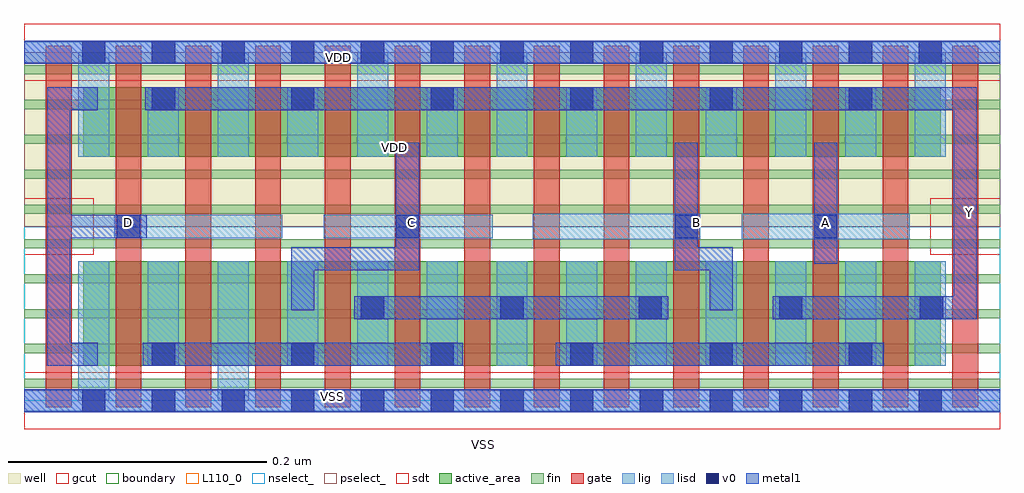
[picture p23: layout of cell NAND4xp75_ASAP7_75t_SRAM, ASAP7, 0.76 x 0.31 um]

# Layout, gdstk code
import gdstk
lib = gdstk.Library(unit=1e-6, precision=2.5e-10)
def R(c, l, rs):  # rectangles x0, y0, x1, y1
    for r in rs: c.add(gdstk.rectangle(r[:2], r[2:], *l))
def A(c, l, x, y, w, h, nx, ny, dx, dy):  # array of equal rectangles
    R(c, l, [(x+i*dx, y+j*dy, x+i*dx+w, y+j*dy+h) for i in range(nx) for j in range(ny)])
def P(c, l, *ps):  # polygons
    for p in ps: c.add(gdstk.Polygon(p, *l))
well = (1, 0)
fin = (2, 0)
gate = (7, 0)
gcut = (10, 0)
active_area = (11, 0)
nselect_ = (12, 0)
pselect_ = (13, 0)
lig = (16, 0)
lisd = (17, 0)
v0 = (18, 0)
metal1 = (19, 0)
sdt = (88, 0)
boundary = (100, 0)
L110_0 = (110, 0)

nand4xp75_asap7_75t_sram = lib.new_cell('NAND4xp75_ASAP7_75t_SRAM')
R(nand4xp75_asap7_75t_sram, well, [(0,0.135,0.324,0.27), (0.216,0.135,0.756,0.27)])
A(nand4xp75_asap7_75t_sram, fin, 0, 0.01, 0.324, 0.007, 1, 10, 0, 0.027)
A(nand4xp75_asap7_75t_sram, fin, 0.216, 0.01, 0.54, 0.007, 1, 10, 0, 0.027)
A(nand4xp75_asap7_75t_sram, gate, 0.017, -0.005, 0.02, 0.28, 14, 1, 0.054, 0)
R(nand4xp75_asap7_75t_sram, gcut, [(0,-0.022,0.324,0.022), (0.216,-0.022,0.756,0.022), (0,0.113,0.054,0.157), (0.702,0.113,0.756,0.157), (0,0.248,0.324,0.292), (0.216,0.248,0.756,0.292)])
A(nand4xp75_asap7_75t_sram, active_area, 0.046, 0.027, 0.232, 0.081, 3, 1, 0.216, 0)
A(nand4xp75_asap7_75t_sram, active_area, 0.046, 0.189, 0.232, 0.054, 3, 1, 0.216, 0)
R(nand4xp75_asap7_75t_sram, nselect_, [(0,0,0.324,0.135), (0.216,0,0.756,0.135)])
R(nand4xp75_asap7_75t_sram, pselect_, [(0,0.135,0.324,0.27), (0.216,0.135,0.756,0.27)])
R(nand4xp75_asap7_75t_sram, lig, [(0,-0.008,0.756,0.008), (0.394,0.125,0.524,0.145), (0.556,0.125,0.686,0.145), (0.07,0.126,0.2,0.144), (0.232,0.126,0.363,0.144), (0,0.262,0.756,0.278)])
A(nand4xp75_asap7_75t_sram, lisd, 0.258, 0.027, 0.024, 0.081, 5, 1, 0.054, 0)
A(nand4xp75_asap7_75t_sram, lisd, 0.474, 0.027, 0.024, 0.081, 5, 1, 0.054, 0)
A(nand4xp75_asap7_75t_sram, lisd, 0.042, 0.189, 0.024, 0.081, 7, 1, 0.108, 0)
R(nand4xp75_asap7_75t_sram, lisd, [(0.042,0,0.066,0.108), (0.15,0,0.174,0.108), (0.096,0.027,0.12,0.108), (0.204,0.027,0.228,0.108), (0.258,0.027,0.282,0.108), (0.474,0.027,0.498,0.108), (0.096,0.189,0.12,0.243), (0.096,0.189,0.12,0.243), (0.204,0.189,0.228,0.243), (0.204,0.189,0.228,0.243), (0.312,0.189,0.336,0.243), (0.312,0.189,0.336,0.243), (0.42,0.189,0.444,0.243), (0.42,0.189,0.444,0.243), (0.474,0.189,0.498,0.243), (0.474,0.189,0.498,0.243), (0.528,0.189,0.552,0.243), (0.528,0.189,0.552,0.243), (0.636,0.189,0.66,0.243), (0.636,0.189,0.66,0.243)])
A(nand4xp75_asap7_75t_sram, v0, 0.045, -0.009, 0.018, 0.018, 13, 2, 0.054, 0.27)
A(nand4xp75_asap7_75t_sram, v0, 0.099, 0.027, 0.018, 0.018, 6, 2, 0.108, 0.198)
A(nand4xp75_asap7_75t_sram, v0, 0.476, 0.063, 0.018, 0.018, 3, 1, 0.109, 0)
A(nand4xp75_asap7_75t_sram, v0, 0.072, 0.126, 0.018, 0.018, 3, 1, 0.216, 0)
R(nand4xp75_asap7_75t_sram, v0, [(0.261,0.063,0.279,0.081), (0.369,0.063,0.387,0.081), (0.612,0.126,0.63,0.144)])
R(nand4xp75_asap7_75t_sram, metal1, [(0,-0.009,0.756,0.009), (0.092,0.027,0.34,0.045), (0.412,0.027,0.666,0.045), (0.256,0.063,0.499,0.081), (0.612,0.106,0.63,0.2), (0,0.261,0.756,0.279)])
P(nand4xp75_asap7_75t_sram, metal1, [(0.095,0.144),(0.036,0.144),(0.036,0.225),(0.057,0.225),(0.057,0.243),(0.018,0.243),(0.018,0.027),(0.057,0.027),(0.057,0.045),(0.036,0.045),(0.036,0.126),(0.095,0.126)],
  [(0.306,0.2),(0.288,0.2),(0.288,0.119),(0.207,0.119),(0.207,0.07),(0.225,0.07),(0.225,0.101),(0.306,0.101)],
  [(0.549,0.119),(0.522,0.119),(0.522,0.2),(0.504,0.2),(0.504,0.101),(0.531,0.101),(0.531,0.07),(0.549,0.07)],
  [(0.738,0.243),(0.094,0.243),(0.094,0.225),(0.72,0.225),(0.72,0.081),(0.58,0.081),(0.58,0.063),(0.738,0.063)])
A(nand4xp75_asap7_75t_sram, sdt, 0.042, 0.027, 0.024, 0.081, 5, 1, 0.054, 0)
A(nand4xp75_asap7_75t_sram, sdt, 0.258, 0.027, 0.024, 0.081, 5, 1, 0.054, 0)
A(nand4xp75_asap7_75t_sram, sdt, 0.474, 0.027, 0.024, 0.081, 5, 1, 0.054, 0)
A(nand4xp75_asap7_75t_sram, sdt, 0.042, 0.189, 0.024, 0.054, 9, 1, 0.054, 0)
A(nand4xp75_asap7_75t_sram, sdt, 0.474, 0.189, 0.024, 0.054, 5, 1, 0.054, 0)
R(nand4xp75_asap7_75t_sram, sdt, [(0.474,0.027,0.498,0.108), (0.474,0.189,0.498,0.243)])
R(nand4xp75_asap7_75t_sram, boundary, [(0,0,0.324,0.27), (0.216,0,0.756,0.27)])
R(nand4xp75_asap7_75t_sram, L110_0, [(0,0,0.324,0.27), (0.216,0,0.756,0.27)])
nand4xp75_asap7_75t_sram.add(gdstk.Label('VDD', (0.2435,0.266), layer=19, texttype=251))
nand4xp75_asap7_75t_sram.add(gdstk.Label('VSS', (0.239,0.003), layer=19, texttype=251))
nand4xp75_asap7_75t_sram.add(gdstk.Label('C', (0.3,0.138), layer=19, texttype=251))
nand4xp75_asap7_75t_sram.add(gdstk.Label('B', (0.521,0.138), layer=19, texttype=251))
nand4xp75_asap7_75t_sram.add(gdstk.Label('A', (0.621,0.138), layer=19, texttype=251))
nand4xp75_asap7_75t_sram.add(gdstk.Label('D', (0.081,0.138), layer=19, texttype=251))
nand4xp75_asap7_75t_sram.add(gdstk.Label('Y', (0.732,0.146), layer=19, texttype=251))
nand4xp75_asap7_75t_sram.add(gdstk.Label('VDD', (0.287,0.196), layer=1, texttype=251))
nand4xp75_asap7_75t_sram.add(gdstk.Label('VSS', (0.356,-0.034), layer=3, texttype=251))

lib.write_gds('NAND4xp75_ASAP7_75t_SRAM.gds')
